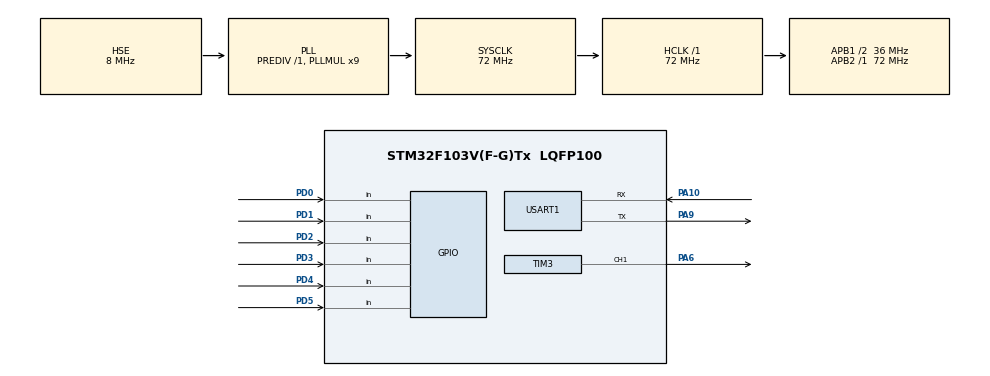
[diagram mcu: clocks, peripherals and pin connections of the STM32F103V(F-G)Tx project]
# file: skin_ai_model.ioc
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Mcu.Family=STM32F1
Mcu.Name=STM32F103V(F-G)Tx
Mcu.Package=LQFP100
NVIC.PriorityGroup=NVIC_PRIORITYGROUP_4
NVIC.TIM3_IRQn=true\:0\:0\:false\:false\:true\:true\:true
NVIC.USART1_IRQn=true\:0\:0\:false\:false\:true\:true\:true
OSC_IN.Mode=HSE-External-Oscillator
OSC_IN.Signal=RCC_OSC_IN
OSC_OUT.Mode=HSE-External-Oscillator
OSC_OUT.Signal=RCC_OSC_OUT
PA10.Mode=Asynchronous
PA10.Signal=USART1_RX
PA13.Mode=Serial_Wire
PA13.Signal=SYS_JTMS-SWDIO
PA14.Mode=Serial_Wire
PA14.Signal=SYS_JTCK-SWCLK
PA6.Signal=S_TIM3_CH1
PA9.Mode=Asynchronous
PA9.Signal=USART1_TX
PC14-OSC32_IN.Mode=LSE-External-Oscillator
PC14-OSC32_IN.Signal=RCC_OSC32_IN
PC15-OSC32_OUT.Mode=LSE-External-Oscillator
PC15-OSC32_OUT.Signal=RCC_OSC32_OUT
PD0.Signal=GPIO_Input
PD1.Signal=GPIO_Input
PD2.Signal=GPIO_Input
PD3.Signal=GPIO_Input
PD4.Signal=GPIO_Input
PD5.Signal=GPIO_Input
ProjectManager.HeapSize=0x200
ProjectManager.StackSize=0x400
ProjectManager.TargetToolchain=MDK-ARM V5.27
RCC.AHBFreq_Value=72000000
RCC.APB1CLKDivider=RCC_HCLK_DIV2
RCC.APB1Freq_Value=36000000
RCC.APB1TimFreq_Value=72000000
RCC.APB2Freq_Value=72000000
RCC.APB2TimFreq_Value=72000000
RCC.HCLKFreq_Value=72000000
RCC.PLLMUL=RCC_PLL_MUL9
RCC.PLLSourceVirtual=RCC_PLLSOURCE_HSE
RCC.SYSCLKFreq_VALUE=72000000
RCC.SYSCLKSource=RCC_SYSCLKSOURCE_PLLCLK
RCC.USBFreq_Value=72000000
SH.S_TIM3_CH1.0=TIM3_CH1,PWM Generation1 CH1
STMicroelectronics.X-CUBE-ALGOBUILD.1.3.0.LibraryCcDSPOoLibraryJjDSPOoLibrary=true
TIM3.AutoReloadPreload=TIM_AUTORELOAD_PRELOAD_ENABLE
TIM3.Channel-PWM\ Generation1\ CH1=TIM_CHANNEL_1
TIM3.Period=10
TIM3.Prescaler=144
TIM3.Pulse-PWM\ Generation1\ CH1=5
USART1.VirtualMode=VM_ASYNC
VP_STMicroelectronics.X-CUBE-ALGOBUILD_VS_DSPOoLibraryJjLibrary_1.3.0_1.3.0.Mode=DSPOoLibraryJjLibrary
VP_TIM3_VS_ClockSourceINT.Mode=Internal
board=custom

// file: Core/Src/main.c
/* USER CODE BEGIN Header */
/**
  ******************************************************************************
  * @file           : main.c
  * @brief          : Main program body
  ******************************************************************************
  * @attention
  *
  * <h2><center>&copy; Copyright (c) 2022 STMicroelectronics.
  * All rights reserved.</center></h2>
  *
  * This software component is licensed by ST under BSD 3-Clause license,
  * the "License"; You may not use this file except in compliance with the
  * License. You may obtain a copy of the License at:
  *                        opensource.org/licenses/BSD-3-Clause
  *
  ******************************************************************************
  */
/* USER CODE END Header */
#include "main.h"

/* USER CODE BEGIN Includes */
#include <stdio.h>
#include <stdlib.h>
#include "arm_math.h"
#include "Typedef.h"
#include "arm_const_structs.h"
/* USER CODE END Includes */

/* USER CODE BEGIN PD */
#define a1_reset (HAL_GPIO_ReadPin(GPIOD, GPIO_PIN_0) == RESET)
#define a2_reset (HAL_GPIO_ReadPin(GPIOD, GPIO_PIN_1) == RESET)
#define a3_reset (HAL_GPIO_ReadPin(GPIOD, GPIO_PIN_2) == RESET)
#define a4_reset (HAL_GPIO_ReadPin(GPIOD, GPIO_PIN_3) == RESET)
#define a5_reset (HAL_GPIO_ReadPin(GPIOD, GPIO_PIN_4) == RESET)
#define a6_reset (HAL_GPIO_ReadPin(GPIOD, GPIO_PIN_5) == RESET)

#define a1_set (HAL_GPIO_ReadPin(GPIOD, GPIO_PIN_0) == SET)
#define a2_set (HAL_GPIO_ReadPin(GPIOD, GPIO_PIN_1) == SET)
#define a3_set (HAL_GPIO_ReadPin(GPIOD, GPIO_PIN_2) == SET)
#define a4_set (HAL_GPIO_ReadPin(GPIOD, GPIO_PIN_3) == SET)
#define a5_set (HAL_GPIO_ReadPin(GPIOD, GPIO_PIN_4) == SET)
#define a6_set (HAL_GPIO_ReadPin(GPIOD, GPIO_PIN_5) == SET)

#define threshold 10000
#define data_len 320
#define FFT_LEN 128
#define overlap 64
#define win_num ((data_len-FFT_LEN)/(FFT_LEN-overlap))+1
/* USER CODE END PD */

TIM_HandleTypeDef htim3;

UART_HandleTypeDef huart1;

void SystemClock_Config(void);
static void MX_GPIO_Init(void);
static void MX_TIM3_Init(void);
static void MX_USART1_UART_Init(void);
/* USER CODE BEGIN PFP */
extern TsOUT* dnn_compute(TsIN*, TsInt*);
/* USER CODE END PFP */

/* USER CODE BEGIN 0 */
int ring_arr[6][data_len] = {0}, a1, a2, a3, a4, a5, a6, hx711_ready = 0, data_ready = 0, hx711_cnt = 0, ring_cnt = 0, avg_ready = 0, avg_cnt = 0, avg_arr[6] = {0},
		i, j, m, n, avg_start = 1, uart_start = 0, stop_bit = 300, start_bit = 0, th_cnt = 0, sample_flag = 0;
float32_t data_arr[6][data_len];
float32_t fft_arr[FFT_LEN<<1] = {0}, input_arr[6][win_num][FFT_LEN>>1] = {0}, abs_arr[FFT_LEN];
float32_t max_value, max_arr[win_num], min_value, min_arr[win_num];
uint32_t max_index;
int final_arr[6][data_len];
char tx[48];

TsOUT *result_ptr;
TsInt errorcode;
extern TsOUT dnn_buffer2[320];
/* USER CODE END 0 */

int main(void)
{

  /* MCU Configuration--------------------------------------------------------*/

  /* Reset of all peripherals, Initializes the Flash interface and the Systick. */
  HAL_Init();

  /* Configure the system clock */
  SystemClock_Config();

  /* Initialize all configured peripherals */
  MX_GPIO_Init();
  MX_TIM3_Init();
  MX_USART1_UART_Init();
  /* USER CODE BEGIN 2 */
	HAL_TIM_Base_Start_IT(&htim3);
  /* USER CODE END 2 */

  /* Infinite loop */
  while (1)
  {

    /* USER CODE BEGIN 3 */
		if(a1_reset && a2_reset && a3_reset && a4_reset && a5_reset && a6_reset && (hx711_ready == 0))
		{
			hx711_ready = 1;
			a1 = a2 = a3 = a4 = a5 = a6 = 0;
			TIM3->CNT = 0;
			HAL_TIM_PWM_Start(&htim3, TIM_CHANNEL_1);
		}
		if(data_ready && hx711_ready)
		{
			data_ready = 0;
			if(hx711_cnt < 24)
			{
				a1 = a1 << 1;
				a2 = a2 << 1;
				a3 = a3 << 1;
				a4 = a4 << 1;
				a5 = a5 << 1;
				a6 = a6 << 1;
				a1 = a1 + a1_set;
				a2 = a2 + a2_set;
				a3 = a3 + a3_set;
				a4 = a4 + a4_set;
				a5 = a5 + a5_set;
				a6 = a6 + a6_set;
			}
			else if(hx711_cnt == 24)
			{
				a1 = a1 | (0xFF000000*((a1&0x800000) == 0x800000));
				a2 = a2 | (0xFF000000*((a2&0x800000) == 0x800000));
				a3 = a3 | (0xFF000000*((a3&0x800000) == 0x800000));
				a4 = a4 | (0xFF000000*((a4&0x800000) == 0x800000));
				a5 = a5 | (0xFF000000*((a5&0x800000) == 0x800000));
				a6 = a6 | (0xFF000000*((a6&0x800000) == 0x800000));
			}
			else if(hx711_cnt == 26)
			{
				hx711_ready = 0;
				hx711_cnt = 0;
				ring_arr[0][ring_cnt] = a1;
				ring_arr[1][ring_cnt] = a2;
				ring_arr[2][ring_cnt] = a3;
				ring_arr[3][ring_cnt] = a4;
				ring_arr[4][ring_cnt] = a5;
				ring_arr[5][ring_cnt] = a6;
				HAL_TIM_PWM_Stop(&htim3, TIM_CHANNEL_1);
				ring_cnt++;
				ring_cnt = (ring_cnt < data_len) * ring_cnt;
				if((avg_ready == 0)&&(avg_start == 1))
				{
					if(avg_cnt == 0)
					{
						for(i=0; i<6; i++)
							avg_arr[i] = 0;
					}
					avg_arr[0] += a1;
					avg_arr[1] += a2;
					avg_arr[2] += a3;
					avg_arr[3] += a4;
					avg_arr[4] += a5;
					avg_arr[5] += a6;
					avg_cnt++;
					if(avg_cnt >= 256)
					{
						for(i=0; i<6; i++)
						{
							avg_arr[i] = avg_arr[i]>>8;
						}
						avg_ready = 1;
						avg_cnt = 0;
					}
				}
				if(avg_ready)
				{
					if(((abs(a1-avg_arr[0])>threshold) || (abs(a2-avg_arr[1])>threshold) || (abs(a3-avg_arr[2])>threshold) || (abs(a4-avg_arr[3])>threshold) || (abs(a6-avg_arr[5])>threshold)) && (sample_flag == 0))	//|| (abs(a5-avg_arr[4])>threshold)
					{
						th_cnt++;
						sample_flag = th_cnt > 30;
					}
					else
					{
						th_cnt = 0;
					}
					if(stop_bit == 500 && sample_flag)
					{
						th_cnt = 0;
						sample_flag = 0;
						start_bit = ring_cnt-119;
						stop_bit = ring_cnt + 200;
						start_bit = start_bit + (start_bit<0)*data_len;
						stop_bit = stop_bit - (stop_bit>=data_len)*data_len;
					}
					if(stop_bit == ring_cnt)
					{
						stop_bit = 500;
						uart_start = 1;
						avg_start = 0;
						avg_ready = 0;
					}
				}
			}
			hx711_cnt++;
		}
		if(uart_start)
		{
			sample_flag = 0;
			for(j=start_bit; j<start_bit+data_len; j++)
			{
				i = j - (j>=data_len)*data_len;
				for(n=0; n<6; n++)
				{
					final_arr[n][j-start_bit] = ring_arr[n][i];
				}
				//sprintf(tx, "%07d\t%07d\t%07d\t%07d\t%07d\t%07d\n" ,ring_arr[0][i], ring_arr[1][i], ring_arr[2][i], ring_arr[3][i], ring_arr[4][i], ring_arr[5][i]);
				//HAL_UART_Transmit(&huart1, (uint8_t*)tx, 48, 100);
			}
			for(i=0; i<6; i++)
			{
				for(j=1; j<319; j++)
				{
					if(abs(final_arr[i][j-1] - final_arr[i][j]) > 3000)
					{
						final_arr[i][j] = (final_arr[i][j-1]+final_arr[i][j+1])/2;
					}
				}
			}
			for(i=0; i<6; i++)
			{
				for(j=0; j<data_len; j++)
				{
					data_arr[i][j] = (float32_t)final_arr[i][j];
				}
			}
			/*for(i=0; i<320; i++)
			{
				sprintf(tx, "%07d\t%07d\t%07d\t%07d\t%07d\t%07d\n" ,final_arr[0][i], final_arr[1][i], final_arr[2][i], final_arr[3][i], final_arr[4][i], final_arr[5][i]);
				HAL_UART_Transmit(&huart1, (uint8_t*)tx, 48, 100);
			}*/
			for(i=0; i<6; i++)
			{
				for(n=0; n<(data_len-FFT_LEN+1); n+=(FFT_LEN-overlap))
				{
					for(j=n; j<n+FFT_LEN; j++)
					{
						fft_arr[(j-n)*2] = data_arr[i][j];
						fft_arr[(j-n)*2+1] = 0;
					}
					arm_cfft_f32(&arm_cfft_sR_f32_len128, fft_arr, 0, 1);
					for(m=0; m<FFT_LEN; m++)
					{
						abs_arr[m] = fft_arr[m+2];
					}
					arm_cmplx_mag_f32(abs_arr, input_arr[i][n/(FFT_LEN-overlap)], FFT_LEN>>1);
				}
			}
			for(i=0; i<6; i++)
			{
				for(j=0; j<win_num; j++)
				{
					for(n=0; n<(FFT_LEN>>1); n++)
					{
						input_arr[i][j][n] /= FFT_LEN;
					}
				}
			}
			for(i=0; i<6; i++)
			{
				for(j=0; j<win_num; j++)
				{
					arm_max_f32(input_arr[i][j], (FFT_LEN>>1), max_arr+j, &max_index);
					arm_min_f32(input_arr[i][j], (FFT_LEN>>1), min_arr+j, &max_index);
				}
				arm_max_f32(max_arr, win_num, &max_value, &max_index);
				arm_min_f32(min_arr, win_num, &min_value, &max_index);
				for(j=0; j<win_num; j++)
				{
					for(n=0; n<(FFT_LEN>>1); n++)
					{
						input_arr[i][j][n] -= min_value;
						input_arr[i][j][n] /= (max_value-min_value);
					}
				}
			}
			result_ptr = dnn_compute(&input_arr[0][0][0], &errorcode);
			arm_max_f32(dnn_buffer2, 7, &max_value, &max_index);
			sprintf(tx, "%1d,%04f", max_index, max_value);
			HAL_UART_Transmit(&huart1, (uint8_t*)tx, 6, 100);
			//HAL_Delay(350);
			uart_start = 0;
			avg_start = 1;
		}
  }
  /* USER CODE END 3 */
}

void SystemClock_Config(void)
{
  RCC_OscInitTypeDef RCC_OscInitStruct = {0};
  RCC_ClkInitTypeDef RCC_ClkInitStruct = {0};

  /** Initializes the RCC Oscillators according to the specified parameters
  * in the RCC_OscInitTypeDef structure.
  */
  RCC_OscInitStruct.OscillatorType = RCC_OSCILLATORTYPE_HSE;
  RCC_OscInitStruct.HSEState = RCC_HSE_ON;
  RCC_OscInitStruct.HSEPredivValue = RCC_HSE_PREDIV_DIV1;
  RCC_OscInitStruct.HSIState = RCC_HSI_ON;
  RCC_OscInitStruct.PLL.PLLState = RCC_PLL_ON;
  RCC_OscInitStruct.PLL.PLLSource = RCC_PLLSOURCE_HSE;
  RCC_OscInitStruct.PLL.PLLMUL = RCC_PLL_MUL9;
  if (HAL_RCC_OscConfig(&RCC_OscInitStruct) != HAL_OK)
  {
    Error_Handler();
  }
  /** Initializes the CPU, AHB and APB buses clocks
  */
  RCC_ClkInitStruct.ClockType = RCC_CLOCKTYPE_HCLK|RCC_CLOCKTYPE_SYSCLK
                              |RCC_CLOCKTYPE_PCLK1|RCC_CLOCKTYPE_PCLK2;
  RCC_ClkInitStruct.SYSCLKSource = RCC_SYSCLKSOURCE_PLLCLK;
  RCC_ClkInitStruct.AHBCLKDivider = RCC_SYSCLK_DIV1;
  RCC_ClkInitStruct.APB1CLKDivider = RCC_HCLK_DIV2;
  RCC_ClkInitStruct.APB2CLKDivider = RCC_HCLK_DIV1;

  if (HAL_RCC_ClockConfig(&RCC_ClkInitStruct, FLASH_LATENCY_2) != HAL_OK)
  {
    Error_Handler();
  }
}

static void MX_TIM3_Init(void)
{

  TIM_ClockConfigTypeDef sClockSourceConfig = {0};
  TIM_MasterConfigTypeDef sMasterConfig = {0};
  TIM_OC_InitTypeDef sConfigOC = {0};

  htim3.Instance = TIM3;
  htim3.Init.Prescaler = 72;
  htim3.Init.CounterMode = TIM_COUNTERMODE_UP;
  htim3.Init.Period = 10;
  htim3.Init.ClockDivision = TIM_CLOCKDIVISION_DIV1;
  htim3.Init.AutoReloadPreload = TIM_AUTORELOAD_PRELOAD_ENABLE;
  if (HAL_TIM_Base_Init(&htim3) != HAL_OK)
  {
    Error_Handler();
  }
  sClockSourceConfig.ClockSource = TIM_CLOCKSOURCE_INTERNAL;
  if (HAL_TIM_ConfigClockSource(&htim3, &sClockSourceConfig) != HAL_OK)
  {
    Error_Handler();
  }
  if (HAL_TIM_PWM_Init(&htim3) != HAL_OK)
  {
    Error_Handler();
  }
  sMasterConfig.MasterOutputTrigger = TIM_TRGO_RESET;
  sMasterConfig.MasterSlaveMode = TIM_MASTERSLAVEMODE_DISABLE;
  if (HAL_TIMEx_MasterConfigSynchronization(&htim3, &sMasterConfig) != HAL_OK)
  {
    Error_Handler();
  }
  sConfigOC.OCMode = TIM_OCMODE_PWM1;
  sConfigOC.Pulse = 5;
  sConfigOC.OCPolarity = TIM_OCPOLARITY_HIGH;
  sConfigOC.OCFastMode = TIM_OCFAST_DISABLE;
  if (HAL_TIM_PWM_ConfigChannel(&htim3, &sConfigOC, TIM_CHANNEL_1) != HAL_OK)
  {
    Error_Handler();
  }
  HAL_TIM_MspPostInit(&htim3);

}

static void MX_USART1_UART_Init(void)
{

  huart1.Instance = USART1;
  huart1.Init.BaudRate = 115200;
  huart1.Init.WordLength = UART_WORDLENGTH_8B;
  huart1.Init.StopBits = UART_STOPBITS_1;
  huart1.Init.Parity = UART_PARITY_NONE;
  huart1.Init.Mode = UART_MODE_TX_RX;
  huart1.Init.HwFlowCtl = UART_HWCONTROL_NONE;
  huart1.Init.OverSampling = UART_OVERSAMPLING_16;
  if (HAL_UART_Init(&huart1) != HAL_OK)
  {
    Error_Handler();
  }

}

static void MX_GPIO_Init(void)
{
  GPIO_InitTypeDef GPIO_InitStruct = {0};

  /* GPIO Ports Clock Enable */
  __HAL_RCC_GPIOC_CLK_ENABLE();
  __HAL_RCC_GPIOA_CLK_ENABLE();
  __HAL_RCC_GPIOD_CLK_ENABLE();

  /*Configure GPIO pins : PD0 PD1 PD2 PD3
                           PD4 PD5 */
  GPIO_InitStruct.Pin = GPIO_PIN_0|GPIO_PIN_1|GPIO_PIN_2|GPIO_PIN_3
                          |GPIO_PIN_4|GPIO_PIN_5;
  GPIO_InitStruct.Mode = GPIO_MODE_INPUT;
  GPIO_InitStruct.Pull = GPIO_NOPULL;
  HAL_GPIO_Init(GPIOD, &GPIO_InitStruct);

}

void Error_Handler(void)
{
  __disable_irq();
  while (1)
  {
  }
}

/************************ (C) COPYRIGHT STMicroelectronics *****END OF FILE****/
